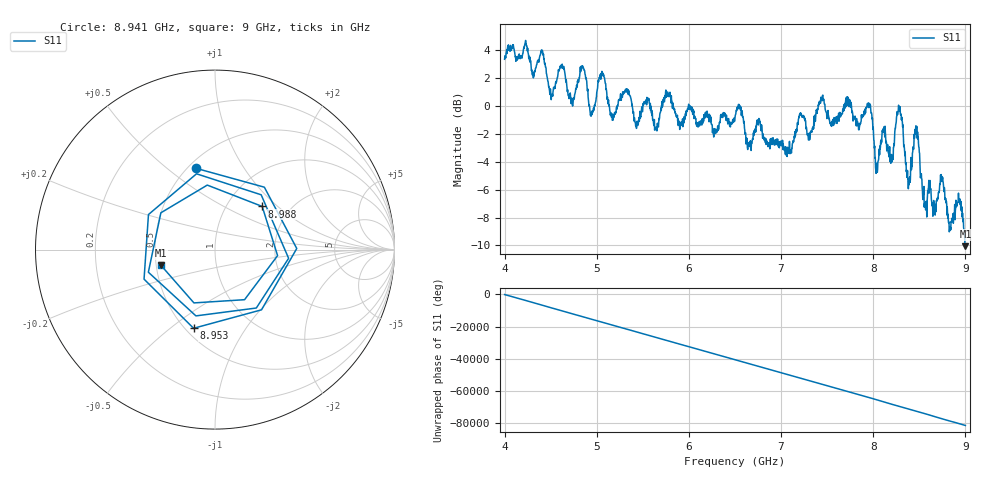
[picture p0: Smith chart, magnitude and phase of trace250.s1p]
! Created with skrf 1.8.0 (http://scikit-rf.org).
# Hz S RI R 50.0
!freq ReS11 ImS11
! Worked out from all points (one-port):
!   1601 points, 4 GHz to 9 GHz, reference 50 ohm
!   lowest |S11| = -10.1 dB at 9 GHz (marker M1), VSWR 1.92, Z = 26.5 - j5.08 ohm
!   |S11| at or under -10 dB: 8.998786 GHz to end of sweep
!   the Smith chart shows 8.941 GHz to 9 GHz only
!   S11 on the Smith chart (normalised r, x): 8.941 GHz: 0.55, +0.64; 8.953 GHz: 0.55, -0.61; 8.988 GHz: 1.45, +0.80; 9 GHz: 0.53, -0.10
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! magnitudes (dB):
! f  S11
! 4 GHz  3.4
! 4.403 GHz  3.8
! 4.503 GHz  0.6
! 4.625 GHz  3.0
! 4.731 GHz  0.3
! 4.853 GHz  2.8
! 4.944 GHz  -0.6
! 5.05 GHz  2.2
! 5.162 GHz  -0.7
! 5.25 GHz  0.4
! 5.875 GHz  -0.7
! 6.5 GHz  -0.8
! 6.659 GHz  -2.6
! 7.125 GHz  -2.7
! 7.441 GHz  0.5
! 7.75 GHz  0.2
! 7.959 GHz  0.1
! 8.044 GHz  -4.8
! 8.109 GHz  -1.9
! 8.206 GHz  -3.9
! 8.284 GHz  -0.4
! 8.375 GHz  -5.3
! 8.469 GHz  -1.5
! 8.559 GHz  -7.0
! 8.941 GHz  -6.7
! 8.953 GHz  -6.9
! 8.988 GHz  -9.0
! 9 GHz  -10.1
